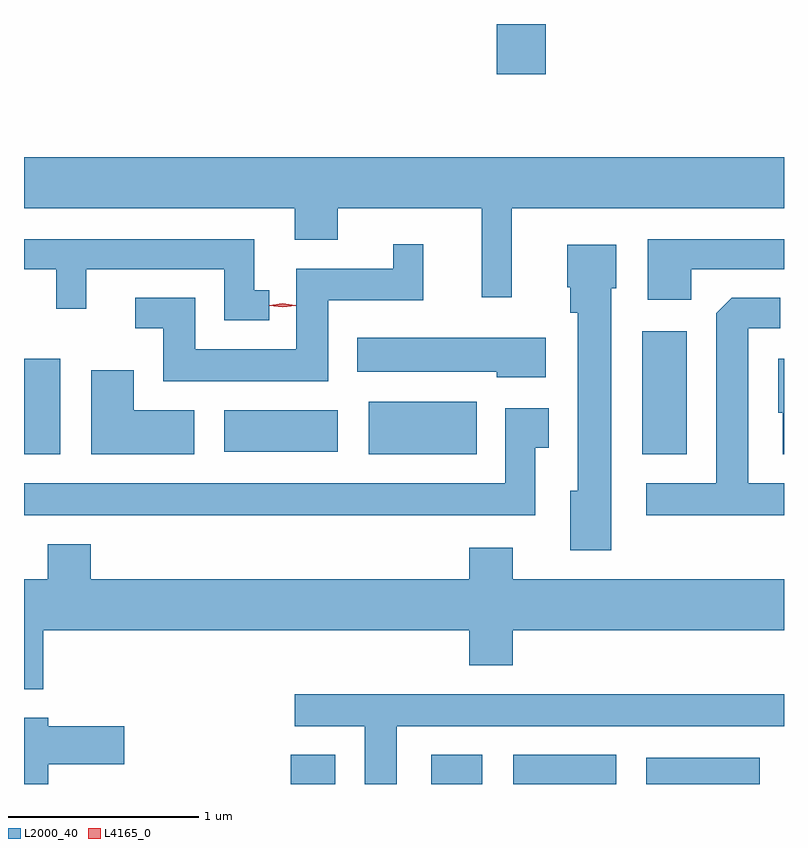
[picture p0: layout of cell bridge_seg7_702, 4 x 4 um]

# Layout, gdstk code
import gdstk
lib = gdstk.Library(unit=1e-6, precision=1e-09)
def R(c, l, rs):  # rectangles x0, y0, x1, y1
    for r in rs: c.add(gdstk.rectangle(r[:2], r[2:], *l))
def P(c, l, *ps):  # polygons
    for p in ps: c.add(gdstk.Polygon(p, *l))
L2000_40 = (2000, 40)
L4165_0 = (4165, 0)

bridge_seg7_702 = lib.new_cell('bridge_seg7_702')
R(bridge_seg7_702, L2000_40, [(549.771,1737.926,550.004,1738.079), (550.511,1737.926,550.779,1738.079), (550.941,1737.926,551.484,1738.079), (551.641,1737.926,552.239,1738.064), (548.367,1739.661,548.559,1740.164), (550.181,1739.661,550.749,1739.939), (551.621,1739.661,551.854,1740.309), (549.421,1739.676,550.019,1739.894), (550.856,1741.661,551.114,1741.926)])
P(bridge_seg7_702, L2000_40, [(550.934,1740.956),(552.367,1740.956),(552.367,1741.224),(548.367,1741.224),(548.367,1740.956),(549.791,1740.956),(549.791,1740.791),(550.019,1740.791),(550.019,1740.956),(550.776,1740.956),(550.776,1740.488),(550.934,1740.488)],
  [(549.658,1740.524),(549.579,1740.524),(549.579,1740.794),(548.367,1740.794),(548.367,1740.636),(548.536,1740.636),(548.536,1740.428),(548.694,1740.428),(548.694,1740.636),(549.421,1740.636),(549.421,1740.366),(549.658,1740.366)],
  [(551.879,1740.636),(552.367,1740.636),(552.367,1740.794),(551.651,1740.794),(551.651,1740.476),(551.879,1740.476)],
  [(549.969,1740.471),(550.469,1740.471),(550.469,1740.768),(550.311,1740.768),(550.311,1740.639),(549.801,1740.639),(549.801,1740.214),(549.269,1740.214),(549.269,1740.484),(548.953,1740.484),(548.953,1740.326),(549.101,1740.326),(549.101,1740.046),(549.969,1740.046)],
  [(551.459,1740.536),(551.484,1740.536),(551.484,1740.764),(551.226,1740.764),(551.226,1740.54),(551.241,1740.54),(551.241,1740.406),(551.281,1740.406),(551.281,1739.469),(551.241,1739.469),(551.241,1739.156),(551.459,1739.156)],
  [(552.367,1739.509),(552.179,1739.509),(552.179,1740.326),(552.348,1740.326),(552.348,1740.484),(552.092,1740.484),(552.011,1740.404),(552.011,1739.509),(551.643,1739.509),(551.643,1739.341),(552.367,1739.341)],
  [(551.114,1740.274),(550.121,1740.274),(550.121,1740.096),(550.856,1740.096),(550.856,1740.066),(551.114,1740.066)],
  [(552.367,1740.164),(552.336,1740.164),(552.336,1739.881),(552.361,1739.881),(552.361,1739.661),(552.367,1739.661)],
  [(549.264,1739.894),(548.944,1739.894),(548.944,1740.104),(548.721,1740.104),(548.721,1739.661),(549.264,1739.661)],
  [(551.059,1739.696),(551.129,1739.696),(551.129,1739.904),(550.901,1739.904),(550.901,1739.509),(548.367,1739.509),(548.367,1739.341),(551.059,1739.341)],
  [(548.469,1738.736),(550.711,1738.736),(550.711,1738.551),(550.939,1738.551),(550.939,1738.736),(552.367,1738.736),(552.367,1739.004),(550.939,1739.004),(550.939,1739.169),(550.711,1739.169),(550.711,1739.004),(548.719,1739.004),(548.719,1739.189),(548.491,1739.189),(548.491,1739.004),(548.367,1739.004),(548.367,1738.426),(548.469,1738.426)],
  [(550.329,1738.231),(552.367,1738.231),(552.367,1738.399),(549.793,1738.399),(549.793,1738.231),(550.161,1738.231),(550.161,1737.926),(550.329,1737.926)],
  [(548.494,1738.031),(548.894,1738.031),(548.894,1738.229),(548.494,1738.229),(548.494,1738.274),(548.367,1738.274),(548.367,1737.926),(548.494,1737.926)])
P(bridge_seg7_702, L4165_0, [(549.728,1740.435),(549.659,1740.444),(549.659,1740.445),(549.659,1740.445),(549.728,1740.455),(549.798,1740.445),(549.798,1740.445),(549.798,1740.444)])

lib.write_gds('bridge_seg7_702.gds')
